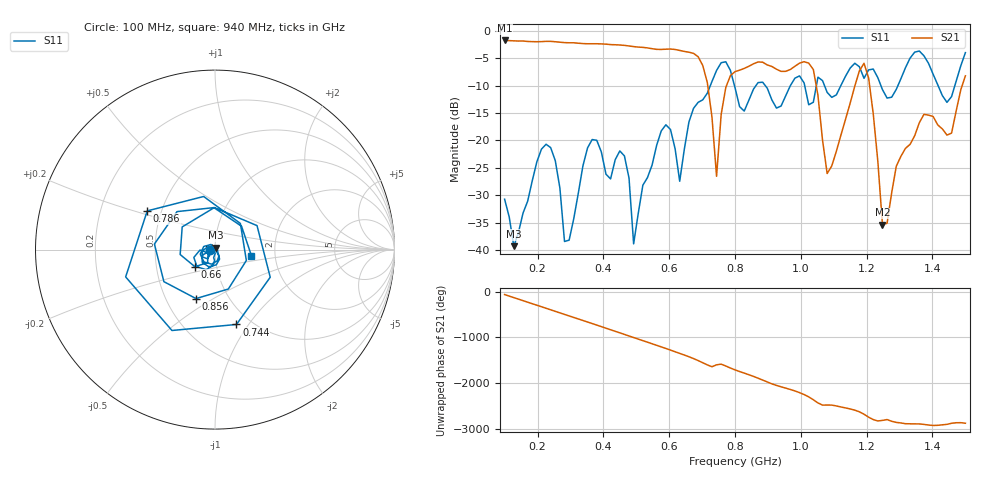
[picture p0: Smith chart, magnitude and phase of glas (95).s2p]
! NanoVNA-App
! Date: 2025-09-26 09:39:34
! Start: 100MHz Stop: 1,5GHz Points: 101
! S-Parameter data: F S11 S21 S12 S22
# Hz S RI R 50
!  Frequency  S11_Real  S11_Imag  S21_Real  S21_Imag  S12_Real  S12_Imag  S22_Real  S22_Imag
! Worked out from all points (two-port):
!   101 points, 100 MHz to 1.5 GHz, reference 50 ohm
!   highest |S21| = -1.79 dB at 100 MHz (marker M1); lowest = -35.4 dB at 1.248 GHz (marker M2)
!   |S21| within 3 dB of the highest: start of sweep to 688.3 MHz
!   lowest |S11| = -39.3 dB at 128 MHz (marker M3), VSWR 1.02, Z = 50.3 + j1.05 ohm
!   |S11| at or under -10 dB: start of sweep to 725.2 MHz; 798.3 MHz to 863.8 MHz (65.53 MHz wide, 7.88 % of centre); 891.8 MHz to 968.4 MHz (76.62 MHz wide, 8.24 % of centre)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
!   S12 and S22 are empty: the file has one direction only
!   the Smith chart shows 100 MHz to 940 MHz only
!   S11 on the Smith chart (normalised r, x): 100 MHz: 0.94, -0.01; 660 MHz: 0.79, -0.15; 744 MHz: 0.86, -0.88; 786 MHz: 0.42, +0.22; 856 MHz: 0.70, -0.42; 940 MHz: 1.50, -0.11
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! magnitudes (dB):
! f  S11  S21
! 100 MHz  -30.7  -1.8
! 128 MHz  -39.3  -1.9
! 212 MHz  -21.6  -2.0
! 282 MHz  -38.4  -2.2
! 338 MHz  -24.6  -2.4
! 464 MHz  -22.8  -2.7
! 492 MHz  -38.9  -2.9
! 576 MHz  -18.3  -3.4
! 632 MHz  -27.4  -3.6
! 660 MHz  -16.7  -3.9
! 716 MHz  -11.4  -9.5
! 744 MHz  -7.3  -26.5
! 786 MHz  -7.2  -8.2
! 800 MHz  -10.4  -7.5
! 856 MHz  -10.7  -6.0
! 940 MHz  -13.7  -7.4
! 1.038 GHz  -13.0  -7.1
! 1.08 GHz  -11.2  -26.0
! 1.192 GHz  -8.7  -6.0
! 1.248 GHz  -10.7  -35.4
! 1.276 GHz  -12.1  -29.6
! 1.5 GHz  -4.0  -8.2
